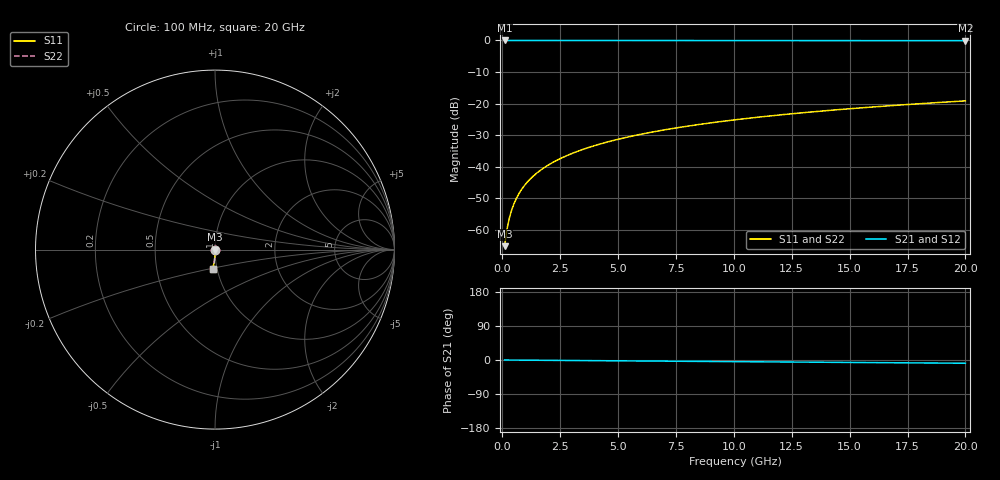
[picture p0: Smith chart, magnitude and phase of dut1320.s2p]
! Touchstone file exported from HFSS 2026.1.0
!  File:  C:/ffzhzh/LocalFiles/Ansys_Project_Files/temp_train_TSV_1320_1783195175_55132.aedt
!  Generated:  04:00:56 AM Jul  5, 2026
!  Design:  TSV
!  Project:  temp_train_TSV_1320_1783195175_55132
! Variables:
!  h_bsmrdl = 2um
!  h_ox = 20um
!  h_rdl = 5um
!  h_sub = 60.74um
!  h_tmrdl = 5um
!  h_tsv = 60.74um
!  h_via = 3um
!  l_bsmrdl = 300um
!  l_sub = 410.96um
!  l_tmrdl = 200um
!  m_sub = 200um
!  pitch = 12.23um
!  r_tsv = 5.48um
!  s_tmrdl = 10um
!  w_bsmrdl = 18um
!  w_sub = 500um
!  w_tmrdl = 12um
!  x_tsv_center1 = 206um
!  x_tsv_center2 = 524um
!  x_tsv_center3 = 736um
!  x_tsv_center4 = 1054um
!  x_tsv_center5 = 1266um
!  x_tsv_center6 = 1584um
# GHz S MA R 50.000000
! Terminal data exported
! Port[1] = TSV1_1_T1
! Port[2] = TSV1_1_T2
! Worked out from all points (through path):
!   200 points, 100 MHz to 20 GHz, reference 50 ohm
!   highest |S21| = 0.00 dB at 100 MHz (marker M1); lowest = -0.1 dB at 20 GHz (marker M2)
!   group delay of S21, straight-line fit = 1.19 ps
!   lowest |S11| = -65.2 dB at 100 MHz (marker M3), VSWR 1.00, Z = 50 - j0.0468 ohm
!   |S11| at or under -10 dB: start of sweep to end of sweep
!   |S22| runs from -65.2 to -19.2 dB; largest |S21 - S12| = 4.3e-15
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0.1  0.0005474 -58.7  0.9997 -0.0  0.9997 -0.0  0.0005474 -58.7
! Gamma 0 0 0 0
! Port Impedance 50 0 50 0
0.2  0.001004 -71.4  0.9997 -0.1  0.9997 -0.1  0.001004 -71.4
0.3  0.001502 -75.9  0.9996 -0.1  0.9996 -0.1  0.001502 -75.9
0.4  0.002021 -78.4  0.9996 -0.2  0.9996 -0.2  0.002021 -78.4
0.5  0.002552 -80.1  0.9995 -0.2  0.9995 -0.2  0.002552 -80.1
0.6  0.003088 -81.3  0.9995 -0.3  0.9995 -0.3  0.003088 -81.3
0.7  0.003626 -82.3  0.9995 -0.3  0.9995 -0.3  0.003626 -82.3
0.8  0.004166 -83.1  0.9995 -0.4  0.9995 -0.4  0.004166 -83.1
1  0.005247 -84.3  0.9994 -0.4  0.9994 -0.4  0.005247 -84.3
1.4  0.007408 -85.8  0.9993 -0.6  0.9993 -0.6  0.007408 -85.8
1.7  0.00903 -86.5  0.9993 -0.8  0.9993 -0.8  0.00903 -86.5
2  0.01065 -87.0  0.9992 -0.9  0.9992 -0.9  0.01065 -87.0
2.7  0.01446 -87.9  0.9991 -1.2  0.9991 -1.2  0.01446 -87.9
3.5  0.01883 -88.6  0.9989 -1.5  0.9989 -1.5  0.01883 -88.6
4.2  0.02268 -89.1  0.9987 -1.8  0.9987 -1.8  0.02268 -89.1
5  0.0271 -89.6  0.9984 -2.2  0.9984 -2.2  0.0271 -89.6
6.8  0.03709 -90.7  0.9978 -3.0  0.9978 -3.0  0.03709 -90.7
8.3  0.04544 -91.5  0.9973 -3.6  0.9973 -3.6  0.04544 -91.5
10.1  0.05546 -92.5  0.9966 -4.4  0.9966 -4.4  0.05546 -92.5
13.4  0.07379 -94.1  0.9951 -5.8  0.9951 -5.8  0.07379 -94.1
16.7  0.09205 -95.7  0.9933 -7.2  0.9933 -7.2  0.09205 -95.7
20  0.1102 -97.2  0.9912 -8.6  0.9912 -8.6  0.1102 -97.2
